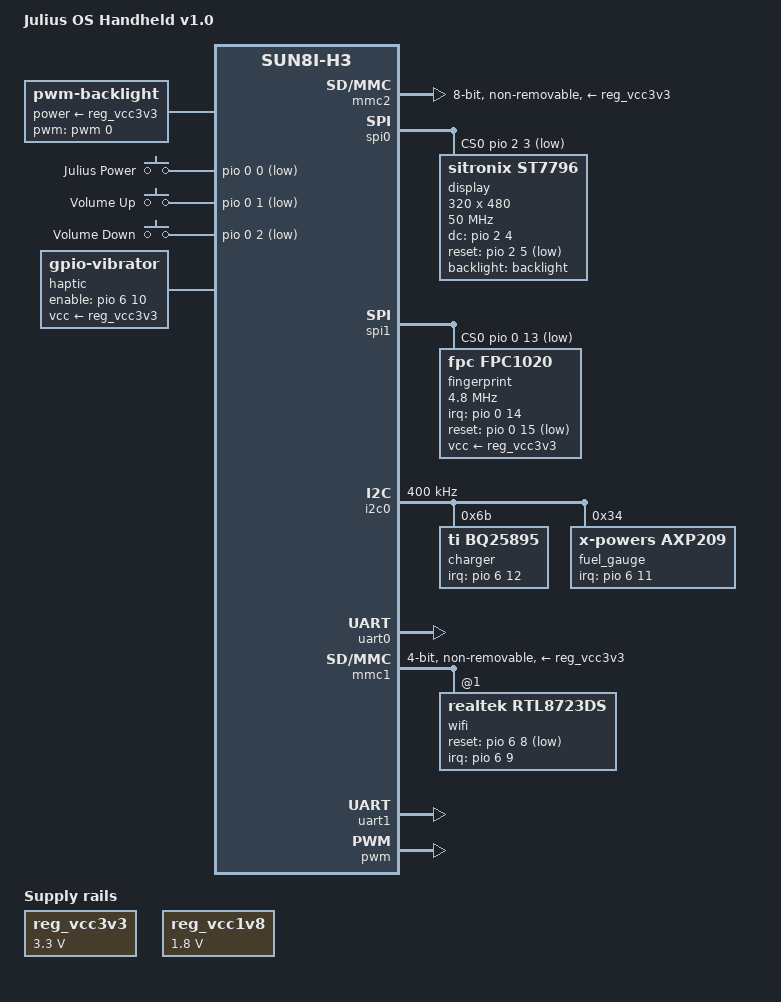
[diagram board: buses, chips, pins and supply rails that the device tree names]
/dts-v1/;
#include "sun8i-h3.dtsi"
#include <dt-bindings/gpio/gpio.h>
#include <dt-bindings/input/input.h>
#include <dt-bindings/pwm/pwm.h>

/ {
	model = "Julius OS Handheld v1.0";
	compatible = "julius,julius-h3", "allwinner,sun8i-h3";

	aliases {
		serial0 = &uart0;
		mmc0    = &mmc2;
		spi0    = &spi0;
		spi1    = &spi1;
	};

	chosen {
		stdout-path = "serial0:115200n8";
		bootargs = "console=ttyS0,115200 root=/dev/mmcblk2p2 rootfstype=ext4 rw rootwait quiet loglevel=0 fbcon=map:0 fbcon=rotate:0 init=/sbin/julius_init";
	};

	reg_vcc3v3: vcc3v3 {
		compatible = "regulator-fixed";
		regulator-name = "vcc-3v3";
		regulator-min-microvolt = <3300000>;
		regulator-max-microvolt = <3300000>;
		regulator-always-on;
	};

	reg_vcc1v8: vcc1v8 {
		compatible = "regulator-fixed";
		regulator-name = "vcc-1v8";
		regulator-min-microvolt = <1800000>;
		regulator-max-microvolt = <1800000>;
		regulator-always-on;
	};

	backlight: backlight {
		compatible = "pwm-backlight";
		pwms = <&pwm 0 50000 0>;
		brightness-levels = <0 16 64 128 192 255>;
		default-brightness-level = <4>;
		power-supply = <&reg_vcc3v3>;
	};

	gpio-keys {
		compatible = "gpio-keys";
		autorepeat;

		power-key {
			label = "Julius Power";
			linux,code = <KEY_POWER>;
			gpios = <&pio 0 0 GPIO_ACTIVE_LOW>;
			wakeup-source;
		};

		vol-up {
			label = "Volume Up";
			linux,code = <KEY_VOLUMEUP>;
			gpios = <&pio 0 1 GPIO_ACTIVE_LOW>;
		};

		vol-down {
			label = "Volume Down";
			linux,code = <KEY_VOLUMEDOWN>;
			gpios = <&pio 0 2 GPIO_ACTIVE_LOW>;
		};
	};

	haptic: vibrator {
		compatible = "gpio-vibrator";
		enable-gpios = <&pio 6 10 GPIO_ACTIVE_HIGH>;
		vcc-supply = <&reg_vcc3v3>;
	};
};

&mmc2 {
	pinctrl-names = "default";
	pinctrl-0 = <&mmc2_8bit_pins>;
	vmmc-supply = <&reg_vcc3v3>;
	vqmmc-supply = <&reg_vcc1v8>;
	bus-width = <8>;
	non-removable;
	cap-mmc-highspeed;
	mmc-hs200-1_8v;
	status = "okay";
};

&spi0 {
	pinctrl-names = "default";
	pinctrl-0 = <&spi0_pins>;
	cs-gpios = <&pio 2 3 GPIO_ACTIVE_LOW>;
	status = "okay";

	display@0 {
		compatible = "sitronix,st7796";
		reg = <0>;
		spi-max-frequency = <50000000>;
		dc-gpios = <&pio 2 4 GPIO_ACTIVE_HIGH>;
		reset-gpios = <&pio 2 5 GPIO_ACTIVE_LOW>;
		backlight = <&backlight>;
		rotation = <0>;
		width = <320>;
		height = <480>;
		buswidth = <8>;
		fps = <60>;
	};
};

&spi1 {
	pinctrl-names = "default";
	pinctrl-0 = <&spi1_pins>;
	cs-gpios = <&pio 0 13 GPIO_ACTIVE_LOW>;
	status = "okay";

	fingerprint@0 {
		compatible = "fpc,fpc1020";
		reg = <0>;
		spi-max-frequency = <4800000>;
		irq-gpios = <&pio 0 14 GPIO_ACTIVE_HIGH>;
		reset-gpios = <&pio 0 15 GPIO_ACTIVE_LOW>;
		vcc-supply = <&reg_vcc3v3>;
		interrupt-parent = <&pio>;
		interrupts = <0 14 IRQ_TYPE_EDGE_RISING>;
	};
};

&i2c0 {
	pinctrl-names = "default";
	pinctrl-0 = <&i2c0_pins>;
	status = "okay";
	clock-frequency = <400000>;

	charger: bq25895@6b {
		compatible = "ti,bq25895";
		reg = <0x6b>;
		interrupt-parent = <&pio>;
		interrupts = <6 12 IRQ_TYPE_EDGE_FALLING>;
		ti,battery-regulation-voltage = <4352000>;
		ti,charge-current = <1024000>;
		ti,termination-current = <128000>;
		ti,precharge-current = <128000>;
		ti,minimum-sys-voltage = <3000000>;
		ti,boost-voltage = <5126000>;
		ti,boost-max-current = <500000>;
	};

	fuel_gauge: axp209@34 {
		compatible = "x-powers,axp209";
		reg = <0x34>;
		interrupt-parent = <&pio>;
		interrupts = <6 11 IRQ_TYPE_LEVEL_LOW>;
	};
};

&uart0 {
	pinctrl-names = "default";
	pinctrl-0 = <&uart0_pa_pins>;
	status = "okay";
};

&mmc1 {
	pinctrl-names = "default";
	pinctrl-0 = <&mmc1_pins>;
	vmmc-supply = <&reg_vcc3v3>;
	bus-width = <4>;
	non-removable;
	cap-sd-highspeed;
	keep-power-in-suspend;
	status = "okay";

	wifi@1 {
		reg = <1>;
		compatible = "realtek,rtl8723ds";
		interrupt-parent = <&pio>;
		interrupts = <6 9 IRQ_TYPE_LEVEL_LOW>;
		reset-gpios = <&pio 6 8 GPIO_ACTIVE_LOW>;
	};
};

&uart1 {
	pinctrl-names = "default";
	pinctrl-0 = <&uart1_pins>, <&uart1_rts_cts_pins>;
	uart-has-rtscts;
	status = "okay";
};

&pwm {
	pinctrl-names = "default";
	pinctrl-0 = <&pwm0_pins>;
	status = "okay";
};

&cpu_thermal {
	trips {
		julius_warm: julius-warm {
			temperature = <70000>;
			hysteresis = <2000>;
			type = "passive";
		};
		julius_hot: julius-hot {
			temperature = <85000>;
			hysteresis = <2000>;
			type = "critical";
		};
	};

	cooling-maps {
		map0 {
			trip = <&julius_warm>;
			cooling-device = <&cpu0 THERMAL_NO_LIMIT 2>;
		};
		map1 {
			trip = <&julius_hot>;
			cooling-device = <&cpu0 THERMAL_NO_LIMIT THERMAL_NO_LIMIT>;
		};
	};
};
```

---

## `uboot/julius_h3_defconfig`
```
CONFIG_ARM=y
CONFIG_ARCH_SUNXI=y
CONFIG_DEFAULT_DEVICE_TREE="sun8i-h3-julius"
CONFIG_SPL=y
CONFIG_MACH_SUN8I_H3=y
CONFIG_DRAM_CLK=672
CONFIG_DRAM_ZQ=3881979
CONFIG_DRAM_ODT_EN=y

CONFIG_MMC=y
CONFIG_MMC_SUNXI=y
CONFIG_MMC_SUNXI_SLOT_EXTRA=2
CONFIG_GENERIC_MMC=y

CONFIG_BOOTDELAY=0
CONFIG_USE_BOOTCOMMAND=y
CONFIG_BOOTCOMMAND="run julius_boot"

CONFIG_EXTRA_ENV_SETTINGS="julius_boot=echo 'Julius OS'; mmc dev 2; load mmc 2:1 0x42000000 zImage; load mmc 2:1 0x43000000 sun8i-h3-julius.dtb; load mmc 2:1 0x43100000 julius_initramfs_h3.cpio.gz; bootz 0x42000000 0x43100000 0x43000000\0"

CONFIG_VIDEO_SUNXI=y
CONFIG_VIDEO_LCD_MODE="x:320,y:480,depth:16,pclk_khz:27000,le:10,ri:20,up:5,lo:10,hs:20,vs:5,sync:3,vmode:0"
CONFIG_VIDEO_LCD_DCLK_PHASE=1
CONFIG_VIDEO_LCD_POWER="PC7"
CONFIG_VIDEO_LCD_BL_EN="PC6"
CONFIG_VIDEO_LCD_BL_PWM="PWM0"

CONFIG_SPLASH_SCREEN=y
CONFIG_SPLASH_SOURCE=y
CONFIG_SPLASH_SCREEN_ALIGN=y
CONFIG_SPLASH_SCREEN_X=0
CONFIG_SPLASH_SCREEN_Y=190

CONFIG_CONS_INDEX=1
CONFIG_BAUDRATE=115200

CONFIG_CMD_MMC=y
CONFIG_CMD_FAT=y
CONFIG_CMD_EXT4=y
CONFIG_CMD_BOOTZ=y
CONFIG_CMD_ECHO=y
CONFIG_CMD_LOAD=y
CONFIG_CMD_ENV=y
CONFIG_CMD_SAVEENV=y
CONFIG_ENV_IS_IN_MMC=y
CONFIG_ENV_OFFSET=0x88000
CONFIG_ENV_SIZE=0x20000

CONFIG_CMD_NET=n
CONFIG_CMD_NFS=n
CONFIG_CMD_PING=n
CONFIG_CMD_PCI=n
CONFIG_CMD_USB=n
CONFIG_CMD_IDE=n
CONFIG_CMD_FPGA=n
CONFIG_CMD_SETEXPR=n
